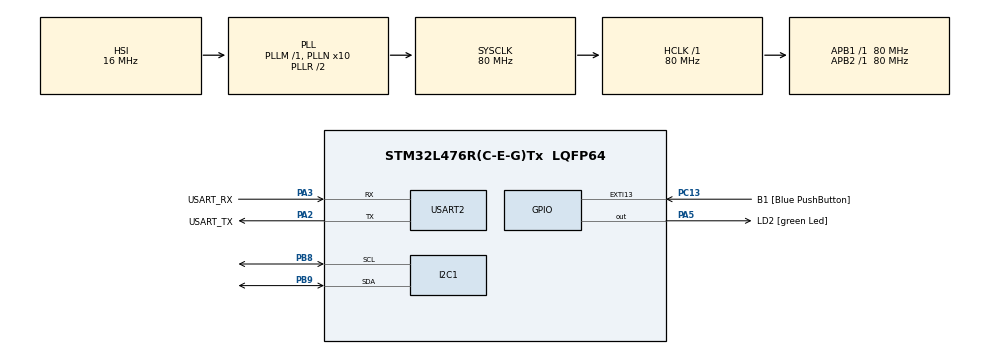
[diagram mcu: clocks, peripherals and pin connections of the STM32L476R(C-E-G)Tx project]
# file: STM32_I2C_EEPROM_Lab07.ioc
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I2C1.Timing=0x10D19CE4
Mcu.Family=STM32L4
Mcu.Name=STM32L476R(C-E-G)Tx
Mcu.Package=LQFP64
NVIC.PriorityGroup=NVIC_PRIORITYGROUP_4
PA13\ (JTMS-SWDIO).GPIO_Label=TMS
PA13\ (JTMS-SWDIO).Mode=Serial_Wire
PA13\ (JTMS-SWDIO).Signal=SYS_JTMS-SWDIO
PA14\ (JTCK-SWCLK).GPIO_Label=TCK
PA14\ (JTCK-SWCLK).Mode=Serial_Wire
PA14\ (JTCK-SWCLK).Signal=SYS_JTCK-SWCLK
PA2.GPIO_Label=USART_TX
PA2.GPIO_Mode=GPIO_MODE_AF_PP
PA2.GPIO_PuPd=GPIO_NOPULL
PA2.GPIO_Speed=GPIO_SPEED_FREQ_VERY_HIGH
PA2.Mode=Asynchronous
PA2.Signal=USART2_TX
PA3.GPIO_Label=USART_RX
PA3.GPIO_Mode=GPIO_MODE_AF_PP
PA3.GPIO_PuPd=GPIO_NOPULL
PA3.GPIO_Speed=GPIO_SPEED_FREQ_VERY_HIGH
PA3.Mode=Asynchronous
PA3.Signal=USART2_RX
PA5.GPIO_Label=LD2 [green Led]
PA5.GPIO_ModeDefaultOutputPP=GPIO_MODE_OUTPUT_PP
PA5.GPIO_PuPd=GPIO_NOPULL
PA5.GPIO_Speed=GPIO_SPEED_FREQ_LOW
PA5.Signal=GPIO_Output
PB3\ (JTDO-TRACESWO).GPIO_Label=SWO
PB3\ (JTDO-TRACESWO).Signal=SYS_JTDO-SWO
PB8.Mode=I2C
PB8.Signal=I2C1_SCL
PB9.Mode=I2C
PB9.Signal=I2C1_SDA
PC13.GPIO_Label=B1 [Blue PushButton]
PC13.GPIO_ModeDefaultEXTI=GPIO_MODE_IT_FALLING
PC13.GPIO_PuPd=GPIO_NOPULL
PC13.Signal=GPXTI13
PC14-OSC32_IN\ (PC14).Mode=LSE-External-Oscillator
PC14-OSC32_IN\ (PC14).Signal=RCC_OSC32_IN
PC15-OSC32_OUT\ (PC15).Mode=LSE-External-Oscillator
PC15-OSC32_OUT\ (PC15).Signal=RCC_OSC32_OUT
PH0-OSC_IN\ (PH0).Signal=RCC_OSC_IN
PH1-OSC_OUT\ (PH1).Signal=RCC_OSC_OUT
ProjectManager.HeapSize=0x200
ProjectManager.StackSize=0x400
ProjectManager.TargetToolchain=STM32CubeIDE
RCC.ADCFreq_Value=64000000
RCC.AHBFreq_Value=80000000
RCC.APB1Freq_Value=80000000
RCC.APB1TimFreq_Value=80000000
RCC.APB2Freq_Value=80000000
RCC.APB2TimFreq_Value=80000000
RCC.CortexFreq_Value=80000000
RCC.HCLKFreq_Value=80000000
RCC.HSE_VALUE=8000000
RCC.HSI_VALUE=16000000
RCC.MSI_VALUE=4000000
RCC.PLLN=10
RCC.PLLSourceVirtual=RCC_PLLSOURCE_HSI
RCC.PREFETCH_ENABLE=1
RCC.SYSCLKFreq_VALUE=80000000
RCC.SYSCLKSource=RCC_SYSCLKSOURCE_PLLCLK
RCC.USBFreq_Value=64000000
RCC.VCOOutputFreq_Value=160000000
USART2.VirtualMode-Asynchronous=VM_ASYNC
board=NUCLEO-L476RG

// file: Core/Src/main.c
/* USER CODE BEGIN Header */
/**
  ******************************************************************************
  * @file           : main.c
  * @brief          : Main program body
  ******************************************************************************
  * @attention
  *
  * Copyright (c) 2026 STMicroelectronics.
  * All rights reserved.
  *
  * This software is licensed under terms that can be found in the LICENSE file
  * in the root directory of this software component.
  * If no LICENSE file comes with this software, it is provided AS-IS.
  *
  ******************************************************************************
  */
/* USER CODE END Header */
#include "main.h"

/* USER CODE BEGIN Includes */
#include "eeprom_24c256.h"
/* USER CODE END Includes */

I2C_HandleTypeDef hi2c1;

UART_HandleTypeDef huart2;

/* USER CODE BEGIN PV */
uint8_t driver_tx_buffer[16];
uint8_t driver_rx_buffer[16];

volatile HAL_StatusTypeDef driver_init_status = HAL_ERROR;
volatile HAL_StatusTypeDef driver_write_status = HAL_ERROR;
volatile HAL_StatusTypeDef driver_read_status = HAL_ERROR;

volatile uint32_t driver_mismatch_count = 0;
volatile uint8_t driver_verify_ok = 0;
volatile uint8_t driver_test_done = 0;

volatile HAL_StatusTypeDef test_zero_length = HAL_ERROR;
volatile HAL_StatusTypeDef test_null_pointer = HAL_OK;
volatile HAL_StatusTypeDef test_out_of_range = HAL_OK;

volatile uint8_t boundary_test_done = 0;

#define EEPROM_LONG_TEST_SIZE 128U

uint8_t long_tx_buffer[EEPROM_LONG_TEST_SIZE];
uint8_t long_rx_buffer[EEPROM_LONG_TEST_SIZE];

volatile HAL_StatusTypeDef long_write_status = HAL_ERROR;
volatile HAL_StatusTypeDef long_read_status = HAL_ERROR;

volatile uint32_t long_mismatch_count = 0;
volatile uint8_t long_verify_ok = 0;
volatile uint8_t long_test_done = 0;

uint8_t end_tx_data = 0xA5;
uint8_t end_rx_data = 0x00;

volatile HAL_StatusTypeDef end_write_status = HAL_ERROR;
volatile HAL_StatusTypeDef end_invalid_status = HAL_OK;
volatile HAL_StatusTypeDef end_read_status = HAL_ERROR;

volatile uint8_t end_verify_ok = 0;
volatile uint8_t end_test_done = 0;

volatile HAL_StatusTypeDef missing_status = HAL_OK;
volatile uint32_t missing_error = 0;
volatile uint32_t missing_elapsed_ms = 0;
volatile uint8_t missing_test_done = 0;
/* USER CODE END PV */

void SystemClock_Config(void);
static void MX_GPIO_Init(void);
static void MX_USART2_UART_Init(void);
static void MX_I2C1_Init(void);

int main(void)
{

  /* MCU Configuration--------------------------------------------------------*/

  /* Reset of all peripherals, Initializes the Flash interface and the Systick. */
  HAL_Init();

  /* Configure the system clock */
  SystemClock_Config();

  /* Initialize all configured peripherals */
  MX_GPIO_Init();
  MX_USART2_UART_Init();
  MX_I2C1_Init();
  /* USER CODE BEGIN 2 */
  /*eeprom_multi_write_status = HAL_ERROR;
  eeprom_multi_ready_status = HAL_ERROR;
  eeprom_multi_read_status = HAL_ERROR;
  eeprom_mismatch_count = 0;
  eeprom_multi_verify_ok = 0;
  eeprom_multi_test_done = 0;

  for(uint8_t i = 0; i < EEPROM_TEST_SIZE; i++){
	  eeprom_tx_buffer[i] = (uint8_t) (0xA0U + i);
	  eeprom_rx_buffer[i] = 0x00;
  }

  eeprom_multi_write_status = HAL_I2C_Mem_Write(&hi2c1,EEPROM_DEV_ADDR,EEPROM_TEST_ADDR,I2C_MEMADD_SIZE_16BIT, eeprom_tx_buffer,EEPROM_TEST_SIZE,100);
  if(eeprom_multi_write_status == HAL_OK){
	  eeprom_multi_ready_status = EEPROM_WaitReady(20);
	  if (eeprom_multi_ready_status == HAL_OK){
		  eeprom_multi_read_status = HAL_I2C_Mem_Read(&hi2c1,EEPROM_DEV_ADDR,EEPROM_TEST_ADDR,I2C_MEMADD_SIZE_16BIT, eeprom_rx_buffer,EEPROM_TEST_SIZE,100);
		  if (eeprom_multi_read_status == HAL_OK){
			  for (uint8_t i = 0; i < EEPROM_TEST_SIZE; i++)
			  {
			       if (eeprom_tx_buffer[i] != eeprom_rx_buffer[i])
			       {
			           eeprom_mismatch_count++;
			       }
			   }
			  if(eeprom_mismatch_count == 0)
				  eeprom_multi_verify_ok = 1;
		  }
	  }
  }
  eeprom_multi_test_done = 1;

  page_offset = page_test_addr % EEPROM_PAGE_SIZE;
  page_remaining = EEPROM_PAGE_SIZE - page_offset;
  chunk_size = (page_test_size < page_remaining)? page_test_size : page_remaining;

  eeprom_page_write_count = 0;
  eeprom_cross_mismatch_count = 0;
  eeprom_cross_verify_ok = 0;
  eeprom_cross_test_done = 0;

  for (uint8_t i = 0; i < 16U; i++)
  {
      cross_tx_buffer[i] = (uint8_t)(0xC0U + i);
      cross_rx_buffer[i] = 0;
  }

  eeprom_cross_write_status = EEPROM_WriteBuffer(
      0x0078,
      cross_tx_buffer,
      16
  );

  if (eeprom_cross_write_status == HAL_OK)
  {
      eeprom_cross_read_status = HAL_I2C_Mem_Read(
          &hi2c1,
          EEPROM_DEV_ADDR,
          0x0078,
          I2C_MEMADD_SIZE_16BIT,
          cross_rx_buffer,
          16,
          100
      );

      if (eeprom_cross_read_status == HAL_OK)
      {
          for (uint8_t i = 0; i < 16U; i++)
          {
              if (cross_tx_buffer[i] != cross_rx_buffer[i])
              {
                  eeprom_cross_mismatch_count++;
              }
          }

          if (eeprom_cross_mismatch_count == 0)
          {
              eeprom_cross_verify_ok = 1;
          }
      }
  }

  eeprom_cross_test_done = 1;*/

 /* i2c_status = HAL_I2C_IsDeviceReady(&hi2c1, (0x50U << 1), 3, 100);

  i2c_error_code = HAL_I2C_GetError(&hi2c1);

  if(i2c_status == HAL_OK)
  {
	  eeprom_write_status = HAL_I2C_Mem_Write(&hi2c1, (0x50U << 1), 0x0010, I2C_MEMADD_SIZE_16BIT, &eeprom_tx_data, 1, 100);

	  if(eeprom_write_status == HAL_OK){
		  uint32_t wait_start = HAL_GetTick();

		  eeprom_ready_status = EEPROM_WaitReady(20);

		  eeprom_wait_elapsed_ms = HAL_GetTick() - wait_start;
		  if(eeprom_ready_status == HAL_OK){
			  eeprom_read_status = HAL_I2C_Mem_Read(&hi2c1, (0x50U << 1), 0x0010, I2C_MEMADD_SIZE_16BIT, &eeprom_rx_data, 1, 100);

			  if (eeprom_read_status == HAL_OK && eeprom_rx_data == eeprom_tx_data)
			  {
			        eeprom_verify_ok = 1;
			  }
		  }
	  }
  }

  i2c_test_done = 1; */

  /* Lab 07-9: Modular EEPROM driver test */

  driver_init_status = EEPROM24C256_Init(&hi2c1);

  if (driver_init_status == HAL_OK)
  {
      for (uint8_t i = 0; i < 16U; i++)
      {
          driver_tx_buffer[i] = (uint8_t)(0xD0U + i);
          driver_rx_buffer[i] = 0;
      }

      driver_write_status = EEPROM24C256_Write(
          0x0078,
          driver_tx_buffer,
          16
      );

      if (driver_write_status == HAL_OK)
      {
          driver_read_status = EEPROM24C256_Read(
              0x0078,
              driver_rx_buffer,
              16
          );

          if (driver_read_status == HAL_OK)
          {
              for (uint8_t i = 0; i < 16U; i++)
              {
                  if (driver_tx_buffer[i] != driver_rx_buffer[i])
                  {
                      driver_mismatch_count++;
                  }
              }

              if (driver_mismatch_count == 0U)
              {
                  driver_verify_ok = 1;
              }
          }
      }
  }

  driver_test_done = 1;

  if (driver_init_status == HAL_OK)
  {
      test_zero_length = EEPROM24C256_Write(
          0x0100,
          driver_tx_buffer,
          0
      );

      test_null_pointer = EEPROM24C256_Write(
          0x0100,
          NULL,
          8
      );

      test_out_of_range = EEPROM24C256_Write(
          0x7FFC,
          driver_tx_buffer,
          8
      );

      boundary_test_done = 1;
  }

  /* Lab 07-9E: 128-byte multi-page test */

  if (driver_init_status == HAL_OK)
  {
      long_mismatch_count = 0;
      long_verify_ok = 0;
      long_test_done = 0;

      for (uint16_t i = 0; i < EEPROM_LONG_TEST_SIZE; i++)
      {
          long_tx_buffer[i] = (uint8_t)(0x30U + i);
          long_rx_buffer[i] = 0;
      }

      long_write_status = EEPROM24C256_Write(
          0x0030,
          long_tx_buffer,
          EEPROM_LONG_TEST_SIZE
      );

      if (long_write_status == HAL_OK)
      {
          long_read_status = EEPROM24C256_Read(
              0x0030,
              long_rx_buffer,
              EEPROM_LONG_TEST_SIZE
          );

          if (long_read_status == HAL_OK)
          {
              for (uint16_t i = 0; i < EEPROM_LONG_TEST_SIZE; i++)
              {
                  if (long_tx_buffer[i] != long_rx_buffer[i])
                  {
                      long_mismatch_count++;
                  }
              }

              if (long_mismatch_count == 0)
              {
                  long_verify_ok = 1;
              }
          }
      }

      long_test_done = 1;
  }
  end_write_status = HAL_ERROR;
  end_invalid_status = HAL_OK;
  end_read_status = HAL_ERROR;
  end_rx_data = 0;
  end_verify_ok = 0;
  end_test_done = 0;

  if (driver_init_status == HAL_OK)
  {
      /* A: Write last valid byte */
      end_write_status = EEPROM24C256_Write(
          0x7FFF,
          &end_tx_data,
          1
      );

      /* B: Reject write beyond EEPROM capacity */
      end_invalid_status = EEPROM24C256_Write(
          0x7FFF,
          driver_tx_buffer,
          2
      );

      /* C: Read last valid byte */
      if (end_write_status == HAL_OK)
      {
          end_read_status = EEPROM24C256_Read(
              0x7FFF,
              &end_rx_data,
              1
          );

          if (end_read_status == HAL_OK &&
              end_rx_data == end_tx_data)
          {
              end_verify_ok = 1;
          }
      }

      end_test_done = 1;
  }

  /* Lab 07-9G: Missing I2C Device Test */

  missing_test_done = 0;

  uint32_t start_tick = HAL_GetTick();

  missing_status = HAL_I2C_IsDeviceReady(
      &hi2c1,
      (0x51U << 1),
      3,
      100
  );

  missing_elapsed_ms = HAL_GetTick() - start_tick;
  missing_error = HAL_I2C_GetError(&hi2c1);

  missing_test_done = 1;

  /* USER CODE END 2 */

  /* Infinite loop */
  while (1)
  {

  }
}

void SystemClock_Config(void)
{
  RCC_OscInitTypeDef RCC_OscInitStruct = {0};
  RCC_ClkInitTypeDef RCC_ClkInitStruct = {0};

  /** Configure the main internal regulator output voltage
  */
  if (HAL_PWREx_ControlVoltageScaling(PWR_REGULATOR_VOLTAGE_SCALE1) != HAL_OK)
  {
    Error_Handler();
  }

  /** Initializes the RCC Oscillators according to the specified parameters
  * in the RCC_OscInitTypeDef structure.
  */
  RCC_OscInitStruct.OscillatorType = RCC_OSCILLATORTYPE_HSI;
  RCC_OscInitStruct.HSIState = RCC_HSI_ON;
  RCC_OscInitStruct.HSICalibrationValue = RCC_HSICALIBRATION_DEFAULT;
  RCC_OscInitStruct.PLL.PLLState = RCC_PLL_ON;
  RCC_OscInitStruct.PLL.PLLSource = RCC_PLLSOURCE_HSI;
  RCC_OscInitStruct.PLL.PLLM = 1;
  RCC_OscInitStruct.PLL.PLLN = 10;
  RCC_OscInitStruct.PLL.PLLP = RCC_PLLP_DIV7;
  RCC_OscInitStruct.PLL.PLLQ = RCC_PLLQ_DIV2;
  RCC_OscInitStruct.PLL.PLLR = RCC_PLLR_DIV2;
  if (HAL_RCC_OscConfig(&RCC_OscInitStruct) != HAL_OK)
  {
    Error_Handler();
  }

  /** Initializes the CPU, AHB and APB buses clocks
  */
  RCC_ClkInitStruct.ClockType = RCC_CLOCKTYPE_HCLK|RCC_CLOCKTYPE_SYSCLK
                              |RCC_CLOCKTYPE_PCLK1|RCC_CLOCKTYPE_PCLK2;
  RCC_ClkInitStruct.SYSCLKSource = RCC_SYSCLKSOURCE_PLLCLK;
  RCC_ClkInitStruct.AHBCLKDivider = RCC_SYSCLK_DIV1;
  RCC_ClkInitStruct.APB1CLKDivider = RCC_HCLK_DIV1;
  RCC_ClkInitStruct.APB2CLKDivider = RCC_HCLK_DIV1;

  if (HAL_RCC_ClockConfig(&RCC_ClkInitStruct, FLASH_LATENCY_4) != HAL_OK)
  {
    Error_Handler();
  }
}

static void MX_I2C1_Init(void)
{

  hi2c1.Instance = I2C1;
  hi2c1.Init.Timing = 0x10D19CE4;
  hi2c1.Init.OwnAddress1 = 0;
  hi2c1.Init.AddressingMode = I2C_ADDRESSINGMODE_7BIT;
  hi2c1.Init.DualAddressMode = I2C_DUALADDRESS_DISABLE;
  hi2c1.Init.OwnAddress2 = 0;
  hi2c1.Init.OwnAddress2Masks = I2C_OA2_NOMASK;
  hi2c1.Init.GeneralCallMode = I2C_GENERALCALL_DISABLE;
  hi2c1.Init.NoStretchMode = I2C_NOSTRETCH_DISABLE;
  if (HAL_I2C_Init(&hi2c1) != HAL_OK)
  {
    Error_Handler();
  }

  /** Configure Analogue filter
  */
  if (HAL_I2CEx_ConfigAnalogFilter(&hi2c1, I2C_ANALOGFILTER_ENABLE) != HAL_OK)
  {
    Error_Handler();
  }

  /** Configure Digital filter
  */
  if (HAL_I2CEx_ConfigDigitalFilter(&hi2c1, 0) != HAL_OK)
  {
    Error_Handler();
  }

}

static void MX_USART2_UART_Init(void)
{

  huart2.Instance = USART2;
  huart2.Init.BaudRate = 115200;
  huart2.Init.WordLength = UART_WORDLENGTH_8B;
  huart2.Init.StopBits = UART_STOPBITS_1;
  huart2.Init.Parity = UART_PARITY_NONE;
  huart2.Init.Mode = UART_MODE_TX_RX;
  huart2.Init.HwFlowCtl = UART_HWCONTROL_NONE;
  huart2.Init.OverSampling = UART_OVERSAMPLING_16;
  huart2.Init.OneBitSampling = UART_ONE_BIT_SAMPLE_DISABLE;
  huart2.AdvancedInit.AdvFeatureInit = UART_ADVFEATURE_NO_INIT;
  if (HAL_UART_Init(&huart2) != HAL_OK)
  {
    Error_Handler();
  }

}

static void MX_GPIO_Init(void)
{
  GPIO_InitTypeDef GPIO_InitStruct = {0};

  /* GPIO Ports Clock Enable */
  __HAL_RCC_GPIOC_CLK_ENABLE();
  __HAL_RCC_GPIOH_CLK_ENABLE();
  __HAL_RCC_GPIOA_CLK_ENABLE();
  __HAL_RCC_GPIOB_CLK_ENABLE();

  /*Configure GPIO pin Output Level */
  HAL_GPIO_WritePin(LD2_GPIO_Port, LD2_Pin, GPIO_PIN_RESET);

  /*Configure GPIO pin : B1_Pin */
  GPIO_InitStruct.Pin = B1_Pin;
  GPIO_InitStruct.Mode = GPIO_MODE_IT_FALLING;
  GPIO_InitStruct.Pull = GPIO_NOPULL;
  HAL_GPIO_Init(B1_GPIO_Port, &GPIO_InitStruct);

  /*Configure GPIO pin : LD2_Pin */
  GPIO_InitStruct.Pin = LD2_Pin;
  GPIO_InitStruct.Mode = GPIO_MODE_OUTPUT_PP;
  GPIO_InitStruct.Pull = GPIO_NOPULL;
  GPIO_InitStruct.Speed = GPIO_SPEED_FREQ_LOW;
  HAL_GPIO_Init(LD2_GPIO_Port, &GPIO_InitStruct);

}

void Error_Handler(void)
{
  __disable_irq();
  while (1)
  {
  }
}
